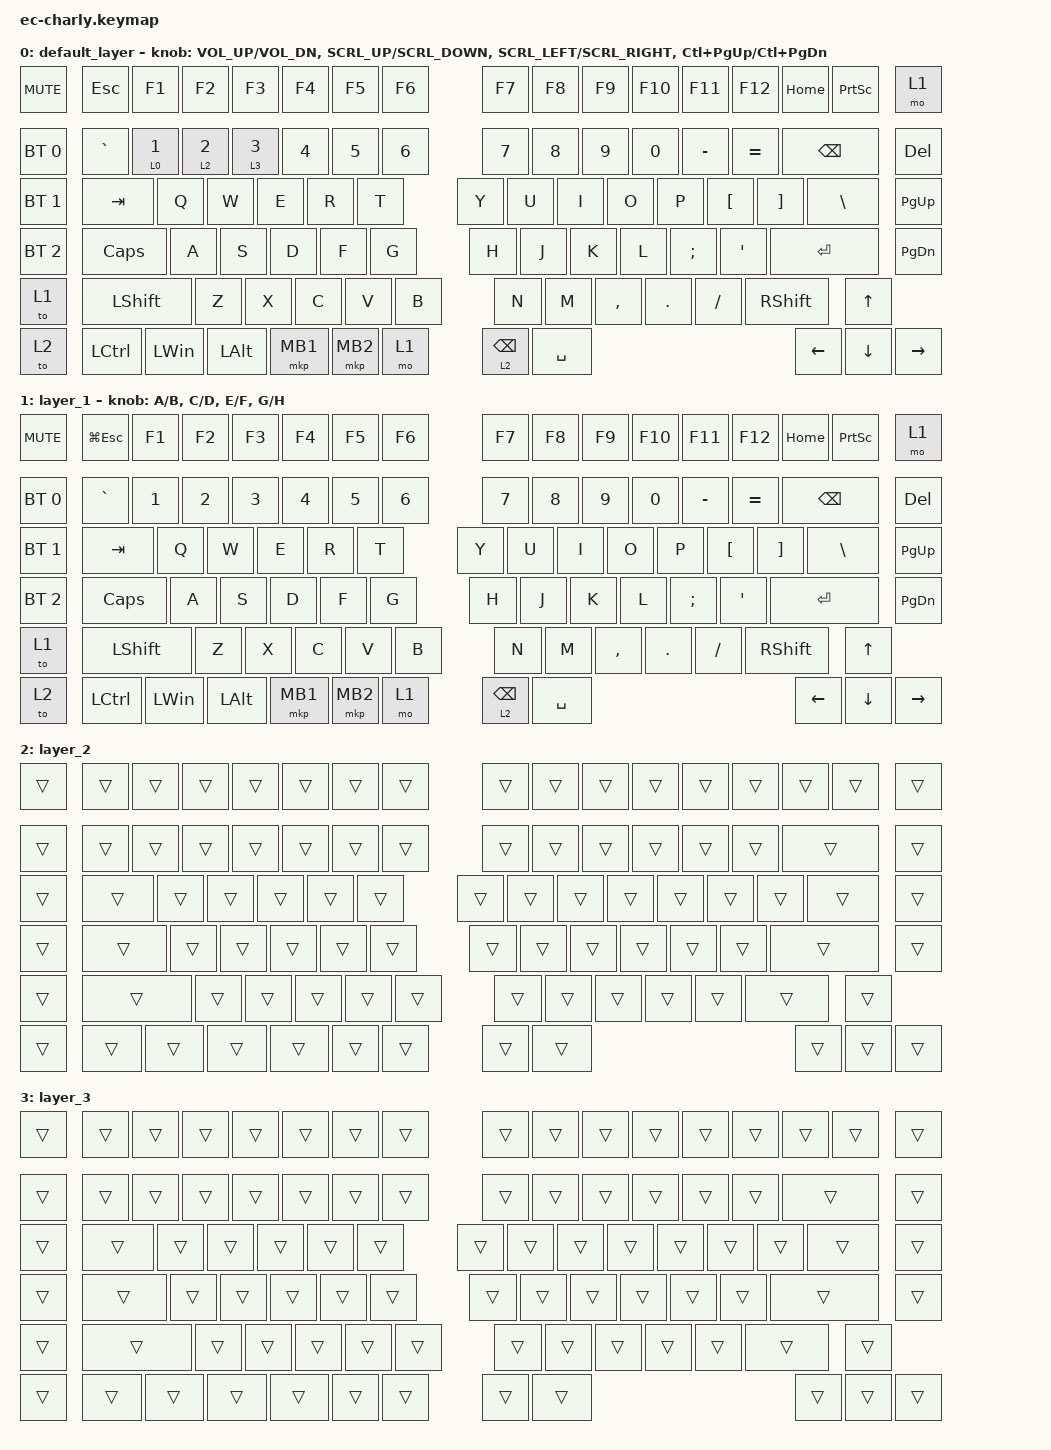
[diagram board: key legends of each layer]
#define ZMK_POINTING_DEFAULT_MOVE_VAL 800
#define ZMK_POINTING_DEFAULT_SCRL_VAL 120

#include <input/processors.dtsi>
#include <zephyr/dt-bindings/input/input-event-codes.h>
#include <behaviors.dtsi>
#include <dt-bindings/zmk/bt.h>
#include <dt-bindings/zmk/keys.h>
#include <dt-bindings/zmk/pointing.h>

/ {
    behaviors {
        mouse_scrl: mouse_wheel_scrl {
            compatible = "zmk,behavior-sensor-rotate-var";
            #sensor-binding-cells = <2>;
            bindings = <&msc>, <&msc>;

            tap-ms = <10>;
        };

        mouse_click: mouse_button_kp {
            compatible = "zmk,behavior-sensor-rotate-var";
            #sensor-binding-cells = <2>;
            bindings = <&mkp>, <&mkp>;
        };
    };

    keymap {
        compatible = "zmk,keymap";

        default_layer {
            bindings = <
&kp C_MUTE    &kp ESCAPE      &kp F1        &kp F2        &kp F3    &kp F4        &kp F5  &kp F6           &kp F7     &kp F8     &kp F9      &kp F10          &kp F11           &kp F12            &kp HOME       &kp PRINTSCREEN  &mo 1
&bt BT_SEL 0  &kp GRAVE       &lt 0 N1      &lt 2 N2      &lt 3 N3  &kp NUMBER_4  &kp N5  &kp N6           &kp N7     &kp N8     &kp N9      &kp N0           &kp MINUS         &kp EQUAL          &kp BACKSPACE  &kp DEL
&bt BT_SEL 1  &kp TAB         &kp Q         &kp W         &kp E     &kp R         &kp T   &kp Y            &kp U      &kp I      &kp O       &kp P            &kp LEFT_BRACKET  &kp RIGHT_BRACKET  &kp BACKSLASH  &kp PG_UP
&bt BT_SEL 2  &kp CAPSLOCK    &kp A         &kp S         &kp D     &kp F         &kp G   &kp H            &kp J      &kp K      &kp L       &kp SEMICOLON    &kp SQT           &kp ENTER          &kp PAGE_DOWN
&to 1         &kp LEFT_SHIFT  &kp Z         &kp X         &kp C     &kp V         &kp B   &kp N            &kp M      &kp COMMA  &kp PERIOD  &kp SLASH        &kp RSHIFT        &kp UP_ARROW
&to 2         &kp LCTRL       &kp LEFT_WIN  &kp LEFT_ALT  &mkp MB1  &mkp MB2      &mo 1   &lt 2 BACKSPACE  &kp SPACE  &kp LEFT   &kp DOWN    &kp RIGHT_ARROW
            >;

            sensor-bindings =
                <&inc_dec_kp C_VOLUME_UP C_VOL_DN>,
                <&mouse_scrl SCRL_UP SCRL_DOWN>,
                <&mouse_scrl SCRL_LEFT SCRL_RIGHT>,
                <&inc_dec_kp LC(PG_UP) LC(PAGE_DOWN)>;
        };

        layer_1 {
            bindings = <
&kp C_MUTE    &kp LG(ESCAPE)  &kp F1        &kp F2        &kp F3        &kp F4        &kp F5  &kp F6           &kp F7     &kp F8     &kp F9      &kp F10          &kp F11           &kp F12            &kp HOME       &kp PRINTSCREEN  &mo 1
&bt BT_SEL 0  &kp GRAVE       &kp NUMBER_1  &kp NUMBER_2  &kp NUMBER_3  &kp NUMBER_4  &kp N5  &kp NUMBER_6     &kp N7     &kp N8     &kp N9      &kp N0           &kp MINUS         &kp EQUAL          &kp BACKSPACE  &kp DEL
&bt BT_SEL 1  &kp TAB         &kp Q         &kp W         &kp E         &kp R         &kp T   &kp Y            &kp U      &kp I      &kp O       &kp P            &kp LEFT_BRACKET  &kp RIGHT_BRACKET  &kp BACKSLASH  &kp PG_UP
&bt BT_SEL 2  &kp CAPSLOCK    &kp A         &kp S         &kp D         &kp F         &kp G   &kp H            &kp J      &kp K      &kp L       &kp SEMICOLON    &kp SQT           &kp ENTER          &kp PAGE_DOWN
&to 1         &kp LEFT_SHIFT  &kp Z         &kp X         &kp C         &kp V         &kp B   &kp N            &kp M      &kp COMMA  &kp PERIOD  &kp SLASH        &kp RSHIFT        &kp UP_ARROW
&to 2         &kp LCTRL       &kp LEFT_WIN  &kp LEFT_ALT  &mkp MB1      &mkp MB2      &mo 1   &lt 2 BACKSPACE  &kp SPACE  &kp LEFT   &kp DOWN    &kp RIGHT_ARROW
            >;

            sensor-bindings =
                <&inc_dec_kp A B>,
                <&inc_dec_kp C D>,
                <&inc_dec_kp E F>,
                <&inc_dec_kp G H>;
        };

        layer_2 {
            bindings = <
&trans  &trans  &trans  &trans  &trans  &trans  &trans  &trans  &trans  &trans  &trans  &trans  &trans  &trans  &trans  &trans  &trans
&trans  &trans  &trans  &trans  &trans  &trans  &trans  &trans  &trans  &trans  &trans  &trans  &trans  &trans  &trans  &trans
&trans  &trans  &trans  &trans  &trans  &trans  &trans  &trans  &trans  &trans  &trans  &trans  &trans  &trans  &trans  &trans
&trans  &trans  &trans  &trans  &trans  &trans  &trans  &trans  &trans  &trans  &trans  &trans  &trans  &trans  &trans
&trans  &trans  &trans  &trans  &trans  &trans  &trans  &trans  &trans  &trans  &trans  &trans  &trans  &trans
&trans  &trans  &trans  &trans  &trans  &trans  &trans  &trans  &trans  &trans  &trans  &trans
            >;
        };

        layer_3 {
            bindings = <
&trans  &trans  &trans  &trans  &trans  &trans  &trans  &trans  &trans  &trans  &trans  &trans  &trans  &trans  &trans  &trans  &trans
&trans  &trans  &trans  &trans  &trans  &trans  &trans  &trans  &trans  &trans  &trans  &trans  &trans  &trans  &trans  &trans
&trans  &trans  &trans  &trans  &trans  &trans  &trans  &trans  &trans  &trans  &trans  &trans  &trans  &trans  &trans  &trans
&trans  &trans  &trans  &trans  &trans  &trans  &trans  &trans  &trans  &trans  &trans  &trans  &trans  &trans  &trans
&trans  &trans  &trans  &trans  &trans  &trans  &trans  &trans  &trans  &trans  &trans  &trans  &trans  &trans
&trans  &trans  &trans  &trans  &trans  &trans  &trans  &trans  &trans  &trans  &trans  &trans
            >;
        };
    };
};
